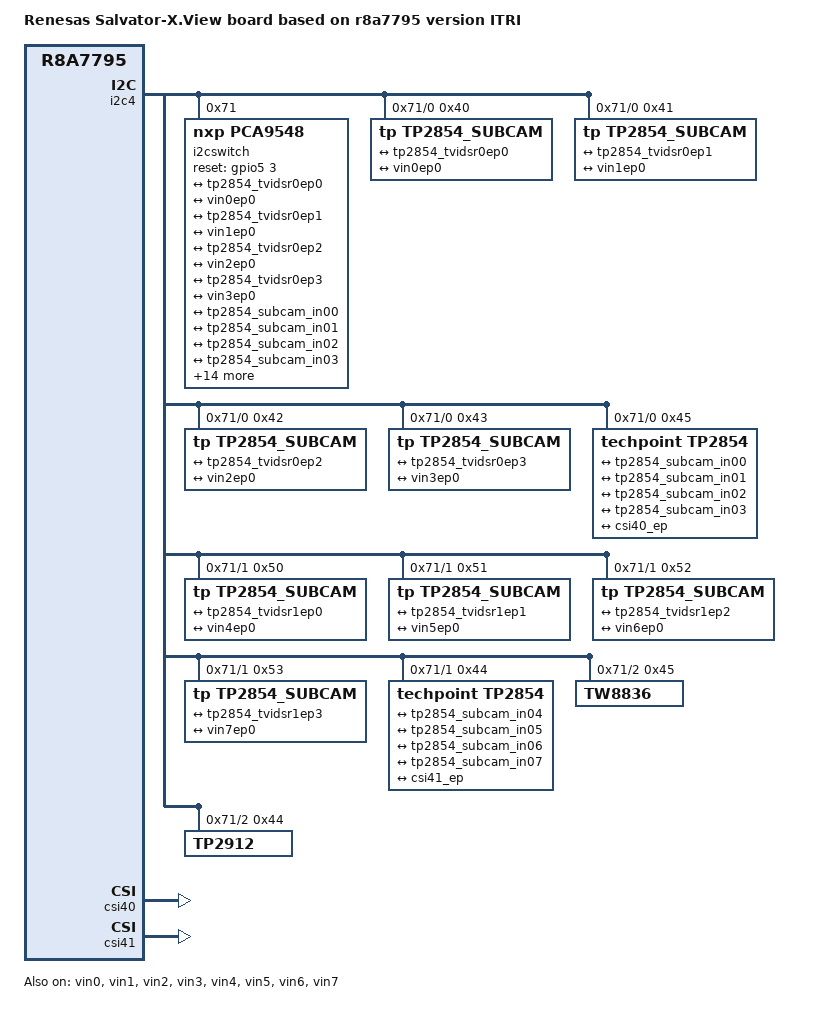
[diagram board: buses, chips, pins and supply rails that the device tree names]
/*
 * Device Tree Source for the Salvator-X.View board
 *
 * Copyright (C) 2016-2017 Renesas Electronics Corp.
 * Copyright (C) 2015-2017 Cogent Embedded, Inc
 *
 * This file is licensed under the terms of the GNU General Public License
 * version 2.  This program is licensed "as is" without any warranty of any
 * kind, whether express or implied.
 */

#include "r8a7795-salvator-x.dts"

/ {
	model = "Renesas Salvator-X.View board based on r8a7795 version ITRI";

};

&i2c4 {
	/delete-node/hdmi-in@34;
	/delete-node/composite-in@70;


	i2cswitch: i2c-switch@71 {
		status = "okay";
		compatible = "nxp,pca9548";
		#address-cells = <1>;
		#size-cells = <0>;
		reg = <0x71>;
		reset-gpios = <&gpio5 3 GPIO_ACTIVE_HIGH>;
		i2c-mux-idle-disconnect;

        i2c@0 {
            #address-cells = <1>;
            #size-cells = <0>;
            reg = <0>;

            tp2854_subcam@0 {
                status = "okay";
                compatible = "tp,tp2854_subcam";
                reg = <0x40>;
                port@1 {
                    tp2854_subcam_ser00ep: endpoint@0 {
                        remote-endpoint = <&tp2854_tvidsr0ep0>;
                    };
                };
                port@0 {
                    tp2854_subcam_in00: endpoint {
                        clock-lanes = <0>;
                        data-lanes = <1 2 3 4>;
                        remote-endpoint = <&vin0ep0>;
                    };
                };
            };

            tp2854_subcam@1 {
                status = "okay";
                compatible = "tp,tp2854_subcam";
                reg = <0x41>;
                port@1 {
                    tp2854_subcam_ser01ep: endpoint@0 {
                        remote-endpoint = <&tp2854_tvidsr0ep1>;
                    };
                };

                port@0 {
                    tp2854_subcam_in01: endpoint {
                        clock-lanes = <0>;
                        data-lanes = <1 2 3 4>;
                        remote-endpoint = <&vin1ep0>;
                    };
                };

            };
            tp2854_subcam@2 {
                status = "okay";
                compatible = "tp,tp2854_subcam";
                reg = <0x42>;
                port@1 {
                    tp2854_subcam_ser02ep: endpoint@0 {
                        remote-endpoint = <&tp2854_tvidsr0ep2>;
                    };
                };
                port@0 {
                    tp2854_subcam_in02: endpoint {
                        clock-lanes = <0>;
                        data-lanes = <1 2 3 4>;
                        remote-endpoint = <&vin2ep0>;
                    };
                };

            };
            tp2854_subcam@3 {
                status = "okay";
                compatible = "tp,tp2854_subcam";
                reg = <0x43>;
                port@1 {
                    tp2854_subcam_ser03ep: endpoint@0 {
                        remote-endpoint = <&tp2854_tvidsr0ep3>;
                    };
                };

                port@0 {
                    tp2854_subcam_in03: endpoint {
                        clock-lanes = <0>;
                        data-lanes = <1 2 3 4>;
                        remote-endpoint = <&vin3ep0>;
                    };
                };

            };


            /* TP2854 @ slasve address 0x45 (7bit) */
            tp2854@0 {
                status = "okay";
                compatible = "techpoint,tp2854";
                reg = <0x45>;
                lanes = <4>;
                npxl = <2>;
                /*******************************
                *  MODE                Value
                *  720P  60 frame      npxl = 0
                *  720P  50 frame      npxl = 1
                *  720P  30 frame      npxl = 2
                *  720P  25 frame      npxl = 3
                *  1080P 30 frame      npxl = 4
                *  1080P 25 frame      npxl = 5
                *  480i                npxl = 6
                *  576i                npxl = 7
                *
                ********************************/

                tvi-clk = <0>;
                /*******************************
                * MODE
                * 0 : 74.25 M Hz for TVI 2.0
                * 1 : 148.5 M Hz for TVI 1.0
                ********************************/

                port@0 {
                    tp2854_tvidsr0ep0: endpoint@0 {
                        remote-endpoint = <&tp2854_subcam_in00>;
                    };
                    tp2854_tvidsr0ep1: endpoint@1 {
                        remote-endpoint = <&tp2854_subcam_in01>;
                    };
                    tp2854_tvidsr0ep2: endpoint@2 {
                        remote-endpoint = <&tp2854_subcam_in02>;
                    };
                    tp2854_tvidsr0ep3: endpoint@3 {
                        remote-endpoint = <&tp2854_subcam_in03>;
                    };
                };
                port@1 {
                    tp2854_csi0ep0: endpoint {
                        csi-rate = <300>;
                        remote-endpoint = <&csi40_ep>;
                    };
                };
            };
        };

		i2c@1 {
			#address-cells = <1>;
			#size-cells = <0>;
			reg = <1>;

            tp2854_subcam@4 {
                status = "okay";
                compatible = "tp,tp2854_subcam";
                reg = <0x50>;
                port@1 {
                    tp2854_subcam_ser04ep: endpoint@0 {
                        remote-endpoint = <&tp2854_tvidsr1ep0>;
                    };
                };
                port@0 {
                    tp2854_subcam_in04: endpoint {
                        clock-lanes = <0>;
                        data-lanes = <1 2 3 4>;
                        remote-endpoint = <&vin4ep0>;
                    };
                };
            };

            tp2854_subcam@5 {
                status = "okay";
                compatible = "tp,tp2854_subcam";
                reg = <0x51>;
                port@1 {
                    tp2854_subcam_ser05ep: endpoint@0 {
                        remote-endpoint = <&tp2854_tvidsr1ep1>;
                    };
                };

                port@0 {
                    tp2854_subcam_in05: endpoint {
                        clock-lanes = <0>;
                        data-lanes = <1 2 3 4>;
                        remote-endpoint = <&vin5ep0>;
                    };
                };

            };
            tp2854_subcam@6 {
                status = "okay";
                compatible = "tp,tp2854_subcam";
                reg = <0x52>;
                port@1 {
                    tp2854_subcam_ser06ep: endpoint@0 {
                        remote-endpoint = <&tp2854_tvidsr1ep2>;
                    };
                };
                port@0 {
                    tp2854_subcam_in06: endpoint {
                        clock-lanes = <0>;
                        data-lanes = <1 2 3 4>;
                        remote-endpoint = <&vin6ep0>;
                    };
                };

            };
            tp2854_subcam@7 {
                status = "okay";
                compatible = "tp,tp2854_subcam";
                reg = <0x53>;
                port@1 {
                    tp2854_subcam_ser07ep: endpoint@0 {
                        remote-endpoint = <&tp2854_tvidsr1ep3>;
                    };
                };

                port@0 {
                    tp2854_subcam_in07: endpoint {
                        clock-lanes = <0>;
                        data-lanes = <1 2 3 4>;
                        remote-endpoint = <&vin7ep0>;
                    };
                };

            };


            /* TP2854 @ slasve address 0x44 (7bit) */
            tp2854@1 {
                status = "okay";
                compatible = "techpoint,tp2854";
                reg = <0x44>;
                lanes = <4>;
                npxl = <2>;
                /*******************************
                *  MODE                Value
                *  720P  60 frame      npxl = 0
                *  720P  50 frame      npxl = 1
                *  720P  30 frame      npxl = 2
                *  720P  25 frame      npxl = 3
                *  1080P 30 frame      npxl = 4
                *  1080P 25 frame      npxl = 5
                *  480i                npxl = 6
                *  576i                npxl = 7
                *
                ********************************/

                tvi-clk = <0>;
                /*******************************
                * MODE
                * 0 : 74.25 M Hz for TVI 2.0
                * 1 : 148.5 M Hz for TVI 1.0
                ********************************/

                port@0 {
                    tp2854_tvidsr1ep0: endpoint@0 {
                        remote-endpoint = <&tp2854_subcam_in04>;
                    };
                    tp2854_tvidsr1ep1: endpoint@1 {
                        remote-endpoint = <&tp2854_subcam_in05>;
                    };
                    tp2854_tvidsr1ep2: endpoint@2 {
                        remote-endpoint = <&tp2854_subcam_in06>;
                    };
                    tp2854_tvidsr1ep3: endpoint@3 {
                        remote-endpoint = <&tp2854_subcam_in07>;
                    };
                };
                port@1 {
                    tp2854_csi1ep0: endpoint {
                        csi-rate = <300>;
                        remote-endpoint = <&csi41_ep>;
                    };
                };
            };
        };

		i2c@2 {
			#address-cells = <1>;
			#size-cells = <0>;
			reg = <2>;

            tw8836@0x45 {
                compatible = "TW8836";
                #address-cells = <1>;
                #size-cells = <0>;
                reg = <0x45>;
            };

            tp2912@0x44 {
                compatible = "TP2912";
                #address-cells = <1>;
                #size-cells = <0>;
                reg = <0x44>;
                loop_test = <1>;
            };
		};

	};
};


&csi40 {
	status = "okay";

	virtual,channel {
		csi2_vc0 {
			data,type = "ycbcr422";
			receive,vc = <0>;
		};
		csi2_vc1 {
			data,type = "ycbcr422";
			receive,vc = <1>;
		};
		csi2_vc2 {
			data,type = "ycbcr422";
			receive,vc = <2>;
		};
		csi2_vc3 {
			data,type = "ycbcr422";
			receive,vc = <3>;
		};
	};

	port {
		#address-cells = <1>;
		#size-cells = <0>;

		csi40_ep: endpoint {
			clock-lanes = <0>;
			data-lanes = <1 2 3 4>;
			csi-rate = <300>;
		};
	};
};

&csi41 {
	status = "okay";

	virtual,channel {
		csi2_vc0 {
			data,type = "ycbcr422";
			receive,vc = <0>;
		};
		csi2_vc1 {
			data,type = "ycbcr422";
			receive,vc = <1>;
		};
		csi2_vc2 {
			data,type = "ycbcr422";
			receive,vc = <2>;
		};
		csi2_vc3 {
			data,type = "ycbcr422";
			receive,vc = <3>;
		};
	};

	port {
		#address-cells = <1>;
		#size-cells = <0>;

		csi41_ep: endpoint {
			clock-lanes = <0>;
			data-lanes = <1 2 3 4>;
			csi-rate = <300>;
		};
	};
};


&vin0 {
    status = "okay";
    ports {
        #address-cells = <1>;
        #size-cells = <0>;
        port@0 {
            vin0ep0: endpoint {
                csi,select = "csi40";
                virtual,channel = <0>;
                data-lanes = <1 2 3 4>;
                remote-endpoint = <&tp2854_subcam_in00>;
            };
        };
        port@1 {
            csi0ep0: endpoint {
                    remote-endpoint = <&csi40_ep>;
            };
        };
        port@2 {
            vin0_tp2854_tvi0dsrep0: endpoint@2 {
                    remote-endpoint = <&tp2854_tvidsr0ep0>;
            };
        };
    };
};

&vin1 {
    status = "okay";

    ports {
        #address-cells = <1>;
        #size-cells = <0>;

        port@0 {
            vin1ep0: endpoint {
                csi,select = "csi40";
                virtual,channel = <1>;
                data-lanes = <1 2 3 4>;
                remote-endpoint = <&tp2854_subcam_in01>;
            };
        };
        port@1 {
            csi0ep1: endpoint {
                remote-endpoint = <&csi40_ep>;
            };
        };
        port@2 {
            vin1_tp2854_tvi0ep1: endpoint@2 {
                remote-endpoint = <&tp2854_tvidsr0ep1>;
            };
        };
    };
};

&vin2 {
    status = "okay";
    ports {
        #address-cells = <1>;
        #size-cells = <0>;

        port@0 {
            vin2ep0: endpoint {
                csi,select = "csi40";
                virtual,channel = <2>;
                data-lanes = <1 2 3 4>;
                remote-endpoint = <&tp2854_subcam_in02>;
            };
        };
        port@1 {
            csi0ep2: endpoint {
                    remote-endpoint = <&csi40_ep>;
            };
        };
        port@2 {
            vin2_tp2854_tvi0ep2: endpoint@2 {
                    remote-endpoint = <&tp2854_tvidsr0ep2>;
            };
        };
    };
};

&vin3 {
    status = "okay";
    ports {
        #address-cells = <1>;
        #size-cells = <0>;
        port@0 {
            vin3ep0: endpoint {
                csi,select = "csi40";
                virtual,channel = <3>;
                data-lanes = <1 2 3 4>;
                remote-endpoint = <&tp2854_subcam_in03>;
            };
        };
        port@1 {
            csi0ep3: endpoint {
                remote-endpoint = <&csi40_ep>;
            };
        };
        port@2 {
            vin3_tp2854_tvi0ep3: endpoint@3 {
                    remote-endpoint = <&tp2854_tvidsr0ep3>;
            };
        };
    };
};


&vin4 {
    status = "okay";
    ports {
        #address-cells = <1>;
        #size-cells = <0>;
        port@0 {
            vin4ep0: endpoint {
                csi,select = "csi41";
                virtual,channel = <0>;
                data-lanes = <1 2 3 4>;
                remote-endpoint = <&tp2854_subcam_in04>;
            };
        };
        port@1 {
            csi0ep4: endpoint {
                    remote-endpoint = <&csi41_ep>;
            };
        };
        port@2 {
            vin4_tp2854_tvi0dsrep4: endpoint@2 {
                    remote-endpoint = <&tp2854_tvidsr1ep0>;
            };
        };
    };
};

&vin5 {
    status = "okay";

    ports {
        #address-cells = <1>;
        #size-cells = <0>;

        port@0 {
            vin5ep0: endpoint {
                csi,select = "csi41";
                virtual,channel = <1>;
                data-lanes = <1 2 3 4>;
                remote-endpoint = <&tp2854_subcam_in05>;
            };
        };
        port@1 {
            csi0ep5: endpoint {
                remote-endpoint = <&csi41_ep>;
            };
        };
        port@2 {
            vin5_tp2854_tvi0ep5: endpoint@2 {
                remote-endpoint = <&tp2854_tvidsr1ep1>;
            };
        };
    };
};

&vin6 {
    status = "okay";
    ports {
        #address-cells = <1>;
        #size-cells = <0>;

        port@0 {
            vin6ep0: endpoint {
                csi,select = "csi41";
                virtual,channel = <2>;
                data-lanes = <1 2 3 4>;
                remote-endpoint = <&tp2854_subcam_in06>;
            };
        };
        port@1 {
            csi0ep6: endpoint {
                    remote-endpoint = <&csi41_ep>;
            };
        };
        port@2 {
            vin6_tp2854_tvi0ep6: endpoint@2 {
                    remote-endpoint = <&tp2854_tvidsr1ep2>;
            };
        };
    };
};

&vin7 {
    status = "okay";
    ports {
        #address-cells = <1>;
        #size-cells = <0>;
        port@0 {
            vin7ep0: endpoint {
                csi,select = "csi41";
                virtual,channel = <3>;
                data-lanes = <1 2 3 4>;
                remote-endpoint = <&tp2854_subcam_in07>;
            };
        };
        port@1 {
            csi0ep7: endpoint {
                remote-endpoint = <&csi41_ep>;
            };
        };
        port@2 {
            vin3_tp2854_tvi0ep7: endpoint@3 {
                    remote-endpoint = <&tp2854_tvidsr1ep3>;
            };
        };
    };
};


&imrlx4_ch0 {
    status = "disabled";
};

&imrlx4_ch1 {
    status = "disabled";
};

&imrlx4_ch2 {
    status = "disabled";
};

&imrlx4_ch3 {
    status = "disabled";
};
